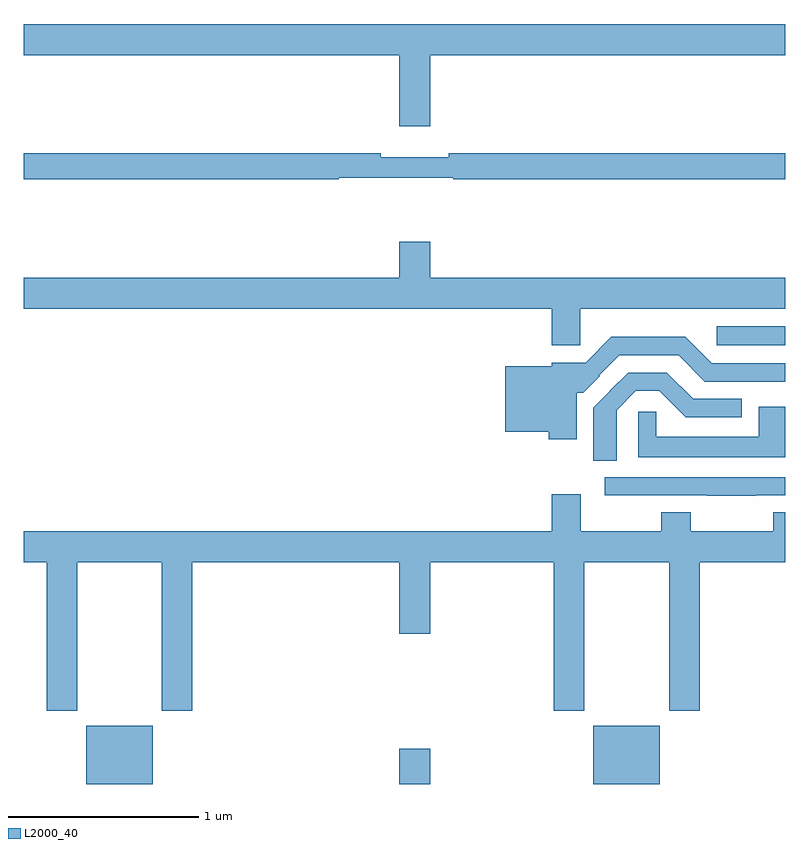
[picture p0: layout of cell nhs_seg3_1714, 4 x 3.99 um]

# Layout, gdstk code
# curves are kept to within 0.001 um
import gdstk
lib = gdstk.Library(unit=1e-6, precision=1e-09)
def R(c, l, rs):  # rectangles x0, y0, x1, y1
    for r in rs: c.add(gdstk.rectangle(r[:2], r[2:], *l))
def P(c, l, *ps):  # polygons
    for p in ps: c.add(gdstk.Polygon(p, *l))
L2000_40 = (2000, 40)

nhs_seg3_1714 = lib.new_cell('nhs_seg3_1714')
R(nhs_seg3_1714, L2000_40, [(199.328,718.4,199.678,718.705), (200.972,718.4,201.136,718.585), (201.992,718.4,202.342,718.705)])
P(nhs_seg3_1714, L2000_40, [(201.136,722.228),(203,722.228),(203,722.392),(199,722.392),(199,722.228),(200.972,722.228),(200.972,721.854),(201.136,721.854)],
  [(200.655,721.584),(201.255,721.584),(201.255,721.576),(203,721.576),(203,721.712),(201.232,721.712),(201.232,721.693),(200.876,721.693),(200.876,721.712),(199,721.712),(199,721.576),(200.655,721.576)],
  [(201.923,720.896),(203,720.896),(203,721.06),(201.136,721.06),(201.136,721.249),(200.972,721.249),(200.972,721.06),(199,721.06),(199,720.896),(201.773,720.896),(201.773,720.705),(201.923,720.705)],
  [(203,720.805),(202.641,720.805),(202.641,720.705),(202.753,720.705),(202.753,720.704),(203,720.704)],
  [(201.904,720.456),(201.938,720.456),(202.026,720.543),(202.023,720.546),(202.128,720.651),(202.44,720.651),(202.578,720.513),(203,720.512),(203,720.609),(202.614,720.609),(202.475,720.748),(202.087,720.748),(201.951,720.612),(201.774,720.612),(201.774,720.595),(201.53,720.595),(201.53,720.251),(201.758,720.251),(201.758,720.212),(201.904,720.212)],
  [(202.114,720.364),(202.215,720.465),(202.338,720.465),(202.476,720.327),(202.771,720.327),(202.771,720.423),(202.516,720.423),(202.378,720.561),(202.175,720.561),(201.992,720.377),(201.992,720.097),(202.114,720.097)],
  [(203,720.382),(202.862,720.382),(202.862,720.223),(202.322,720.223),(202.322,720.355),(202.228,720.355),(202.228,720.116),(203,720.116)],
  [(202.847,719.916),(203,719.916),(203,720.012),(202.053,720.012),(202.053,719.916),(202.591,719.916),(202.591,719.915),(202.847,719.915)],
  [(199.281,719.564),(199.726,719.564),(199.726,718.785),(199.886,718.785),(199.886,719.564),(200.972,719.564),(200.972,719.19),(201.136,719.19),(201.136,719.564),(201.785,719.564),(201.785,718.785),(201.945,718.785),(201.945,719.564),(202.39,719.564),(202.39,718.785),(202.55,718.785),(202.55,719.564),(203,719.564),(203,719.827),(202.936,719.827),(202.936,719.728),(202.503,719.728),(202.503,719.827),(202.348,719.827),(202.348,719.728),(201.925,719.728),(201.925,719.923),(201.773,719.923),(201.773,719.728),(199,719.728),(199,719.564),(199.121,719.564),(199.121,718.785),(199.281,718.785)])

lib.write_gds('nhs_seg3_1714.gds')
